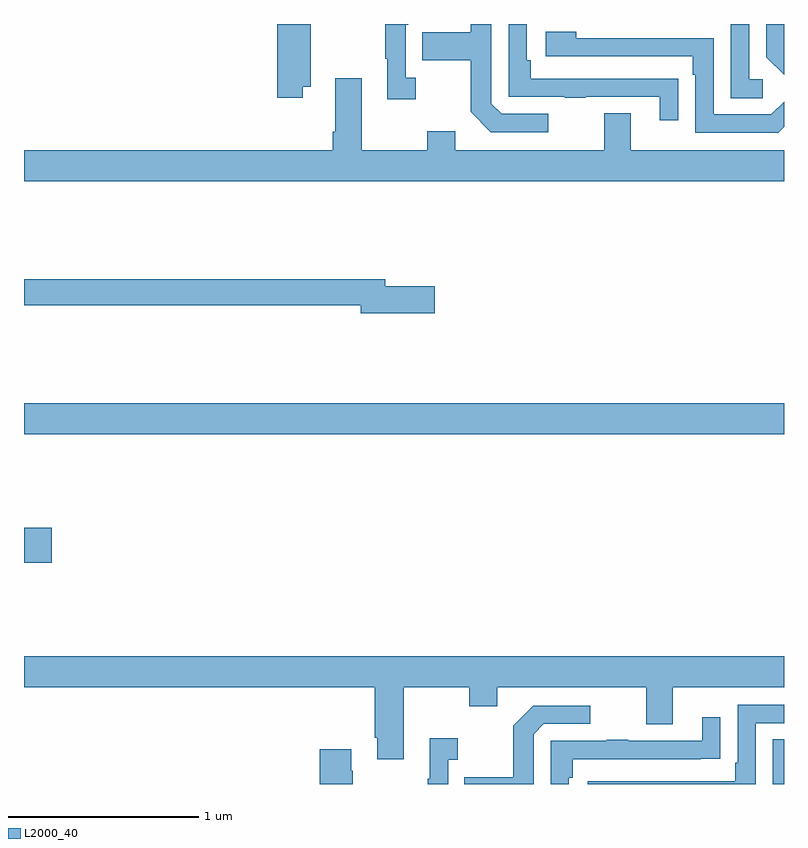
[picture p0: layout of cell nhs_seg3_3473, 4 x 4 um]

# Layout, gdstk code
import gdstk
lib = gdstk.Library(unit=1e-6, precision=1e-09)
def R(c, l, rs):  # rectangles x0, y0, x1, y1
    for r in rs: c.add(gdstk.rectangle(r[:2], r[2:], *l))
def P(c, l, *ps):  # polygons
    for p in ps: c.add(gdstk.Polygon(p, *l))
L2000_40 = (2000, 40)

nhs_seg3_3473 = lib.new_cell('nhs_seg3_3473')
R(nhs_seg3_3473, L2000_40, [(294.942,708.4,295,708.635), (291,709.565,291.145,709.748), (291,710.24,295,710.404)])
P(nhs_seg3_3473, L2000_40, [(292.468,712.07),(292.509,712.07),(292.509,712.4),(292.334,712.4),(292.334,712.011),(292.468,712.011)],
  [(294.889,712.11),(294.816,712.11),(294.816,712.4),(294.72,712.4),(294.72,712.009),(294.889,712.009)],
  [(293.062,712.118),(293.01,712.118),(293.01,712.397),(293.023,712.397),(293.023,712.4),(292.902,712.4),(292.902,712.217),(292.913,712.217),(292.913,712.005),(293.062,712.005)],
  [(294.443,712.112),(294.341,712.112),(294.341,712.113),(293.666,712.113),(293.666,712.21),(293.646,712.21),(293.646,712.4),(293.55,712.4),(293.55,712.017),(293.845,712.017),(293.845,712.012),(293.957,712.012),(293.957,712.017),(294.347,712.017),(294.347,711.894),(294.443,711.894)],
  [(295,712.4),(294.906,712.4),(294.906,712.226),(295,712.132)],
  [(293.758,711.927),(293.514,711.927),(293.46,711.981),(293.46,712.4),(293.352,712.4),(293.352,712.357),(293.095,712.357),(293.095,712.21),(293.352,712.21),(293.352,711.937),(293.457,711.831),(293.758,711.831)],
  [(295,711.859),(295,711.991),(294.933,711.924),(294.63,711.924),(294.63,712.326),(293.906,712.326),(293.906,712.36),(293.745,712.36),(293.745,712.23),(294.521,712.23),(294.521,712.133),(294.534,712.133),(294.534,711.828),(294.969,711.828)],
  [(292.637,712.114),(292.637,711.832),(292.625,711.832),(292.625,711.736),(291,711.736),(291,711.572),(295,711.572),(295,711.736),(294.193,711.736),(294.193,711.931),(294.053,711.931),(294.053,711.736),(293.269,711.736),(293.269,711.835),(293.122,711.835),(293.122,711.736),(292.777,711.736),(292.777,712.114)],
  [(293.161,711.02),(292.9,711.02),(292.9,711.056),(291,711.056),(291,710.92),(292.772,710.92),(292.772,710.878),(293.161,710.878)],
  [(292.999,708.908),(293.344,708.908),(293.344,708.809),(293.491,708.809),(293.491,708.908),(294.275,708.908),(294.275,708.714),(294.415,708.714),(294.415,708.908),(295,708.908),(295,709.072),(291,709.072),(291,708.908),(292.847,708.908),(292.847,708.643),(292.859,708.643),(292.859,708.531),(292.999,708.531)],
  [(294.852,708.72),(295,708.72),(295,708.816),(294.756,708.816),(294.756,708.511),(294.743,708.511),(294.743,708.414),(293.967,708.414),(293.967,708.4),(294.852,708.4)],
  [(293.682,708.663),(293.736,708.717),(293.98,708.717),(293.98,708.813),(293.679,708.813),(293.574,708.707),(293.574,708.435),(293.317,708.435),(293.317,708.4),(293.682,708.4)],
  [(293.868,708.434),(293.888,708.434),(293.888,708.531),(294.563,708.531),(294.563,708.532),(294.665,708.532),(294.665,708.751),(294.569,708.751),(294.569,708.627),(294.179,708.627),(294.179,708.632),(294.067,708.632),(294.067,708.627),(293.772,708.627),(293.772,708.4),(293.868,708.4)],
  [(293.232,708.527),(293.284,708.527),(293.284,708.64),(293.135,708.64),(293.135,708.427),(293.124,708.427),(293.124,708.4),(293.232,708.4)],
  [(292.731,708.47),(292.723,708.47),(292.723,708.583),(292.556,708.583),(292.556,708.4),(292.731,708.4)])

lib.write_gds('nhs_seg3_3473.gds')
